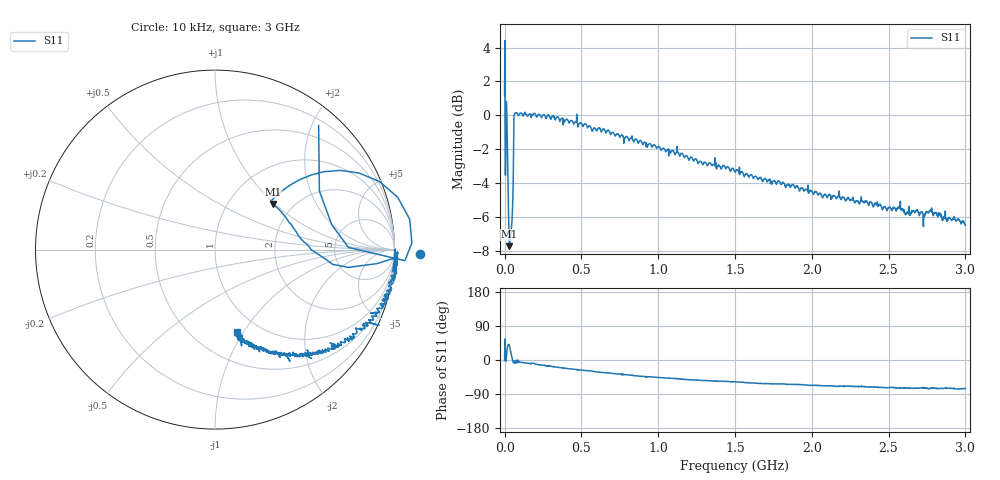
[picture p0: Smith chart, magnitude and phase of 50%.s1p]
# HZ S RI R 50
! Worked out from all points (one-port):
!   2020 points, 10 kHz to 3 GHz, reference 50 ohm
!   lowest |S11| = -7.7 dB at 31.21 MHz (marker M1), VSWR 2.39, Z = 79.2 + j48.5 ohm
!   |S11| at or under -10 dB: nowhere
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10000  1.143 -0.0244
5953516  0.6505 0.1384
1.635467e7  0.8026 0.4265
1.932643e7  0.6093 0.4345
2.378406e7  0.4294 0.366
2.675582e7  0.3591 0.315
3.121346e7  0.3217 0.2545
3.715698e7  0.384 0.1917
4.310049e7  0.4384 0.1183
5.350164e7  0.5656 -0.0201
6.39028e7  1.004 -0.067
7.133219e7  1.016 -0.0453
7.578983e7  1.017 -0.0134
1.575132e8  0.993 -0.155
1.887166e8  0.9989 -0.1581
2.139766e8  0.9744 -0.2061
3.759374e8  0.9158 -0.3508
6.092204e8  0.7749 -0.4848
7.503789e8  0.6827 -0.5235
1.126306e9  0.5085 -0.5908
1.289753e9  0.4175 -0.5789
1.500748e9  0.364 -0.5733
1.671624e9  0.305 -0.574
1.875189e9  0.2685 -0.5637
2.251117e9  0.2017 -0.5221
2.625558e9  0.1435 -0.494
2.769688e9  0.1333 -0.5065
3e9  0.1219 -0.4574
